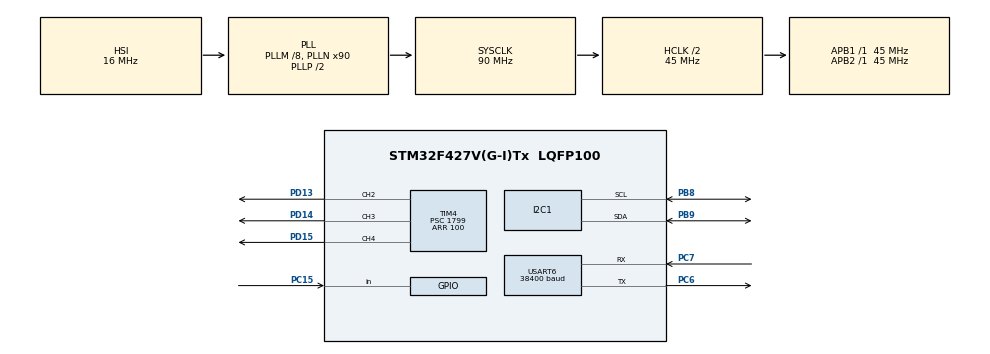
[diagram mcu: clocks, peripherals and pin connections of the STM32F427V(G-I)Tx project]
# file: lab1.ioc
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I2C1.I2C_Mode=I2C_Fast
Mcu.Family=STM32F4
Mcu.Name=STM32F427V(G-I)Tx
Mcu.Package=LQFP100
NVIC.PriorityGroup=NVIC_PRIORITYGROUP_4
NVIC.USART6_IRQn=true\:0\:0\:false\:false\:true\:true\:true\:true
PA13.Mode=JTAG_5_pins
PA13.Signal=SYS_JTMS-SWDIO
PA14.Mode=JTAG_5_pins
PA14.Signal=SYS_JTCK-SWCLK
PA15.Mode=JTAG_5_pins
PA15.Signal=SYS_JTDI
PB3.Mode=JTAG_5_pins
PB3.Signal=SYS_JTDO-SWO
PB4.Mode=JTAG_5_pins
PB4.Signal=SYS_JTRST
PB8.Mode=I2C
PB8.Signal=I2C1_SCL
PB9.Mode=I2C
PB9.Signal=I2C1_SDA
PC15/OSC32_OUT.Signal=GPIO_Input
PC6.Mode=Asynchronous
PC6.Signal=USART6_TX
PC7.Mode=Asynchronous
PC7.Signal=USART6_RX
PD13.Signal=S_TIM4_CH2
PD14.Signal=S_TIM4_CH3
PD15.Signal=S_TIM4_CH4
ProjectManager.HeapSize=0x200
ProjectManager.StackSize=0x400
ProjectManager.TargetToolchain=STM32CubeIDE
RCC.48MHZClocksFreq_Value=45000000
RCC.AHBCLKDivider=RCC_SYSCLK_DIV2
RCC.AHBFreq_Value=45000000
RCC.APB1Freq_Value=45000000
RCC.APB1TimFreq_Value=45000000
RCC.APB2Freq_Value=45000000
RCC.APB2TimFreq_Value=45000000
RCC.CortexFreq_Value=45000000
RCC.HCLKFreq_Value=45000000
RCC.HSE_VALUE=25000000
RCC.HSI_VALUE=16000000
RCC.LSE_VALUE=32768
RCC.PLLM=8
RCC.PLLN=90
RCC.SYSCLKFreq_VALUE=90000000
RCC.SYSCLKSource=RCC_SYSCLKSOURCE_PLLCLK
RCC.VCOOutputFreq_Value=180000000
SH.S_TIM4_CH2.0=TIM4_CH2,PWM Generation2 CH2
SH.S_TIM4_CH3.0=TIM4_CH3,PWM Generation3 CH3
SH.S_TIM4_CH4.0=TIM4_CH4,PWM Generation4 CH4
TIM4.Channel-PWM\ Generation2\ CH2=TIM_CHANNEL_2
TIM4.Channel-PWM\ Generation3\ CH3=TIM_CHANNEL_3
TIM4.Channel-PWM\ Generation4\ CH4=TIM_CHANNEL_4
TIM4.Period=100
TIM4.Prescaler=1799
TIM4.Pulse-PWM\ Generation3\ CH3=0
TIM4.Pulse-PWM\ Generation4\ CH4=0
USART6.BaudRate=38400
USART6.VirtualMode=VM_ASYNC
VP_TIM4_VS_ClockSourceINT.Mode=Internal
board=custom

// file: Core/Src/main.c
/* USER CODE BEGIN Header */
/**
  ******************************************************************************
  * @file           : main.c
  * @brief          : Main program body
  ******************************************************************************
  * @attention
  *
  * Copyright (c) 2025 STMicroelectronics.
  * All rights reserved.
  *
  * This software is licensed under terms that can be found in the LICENSE file
  * in the root directory of this software component.
  * If no LICENSE file comes with this software, it is provided AS-IS.
  *
  ******************************************************************************
  */
/* USER CODE END Header */
#include "main.h"
#include "i2c.h"
#include "tim.h"
#include "usart.h"
#include "gpio.h"

void SystemClock_Config(void);

int main(void)
{

  /* MCU Configuration--------------------------------------------------------*/

  /* Reset of all peripherals, Initializes the Flash interface and the Systick. */
  HAL_Init();

  /* Configure the system clock */
  SystemClock_Config();

  /* USER CODE BEGIN SysInit */
//  my_GPIO_Init();
  /* USER CODE END SysInit */

  /* Initialize all configured peripherals */
  MX_GPIO_Init();
  MX_USART6_UART_Init();
  MX_TIM4_Init();
  MX_I2C1_Init();
  /* USER CODE BEGIN 2 */

  HAL_TIM_PWM_Start(&htim4, TIM_CHANNEL_2);
  HAL_TIM_PWM_Start(&htim4, TIM_CHANNEL_3);
  HAL_TIM_PWM_Start(&htim4, TIM_CHANNEL_4);
  int phase = 0;
  uint32_t tick_count = 0;
  char write_buffer[200];
  char input_symbol;
  int mode = 0;
  int btn_id;

  /* USER CODE END 2 */

  /* Infinite loop */
  /* USER CODE BEGIN WHILE */
  clear_lights();
//    	set_light_power(RED, (phase + 50) % 100);
  void print_keyboard(uint8_t** kb_state){
	  sprintf(write_buffer, "--------------\n");
	  write_string(write_buffer);
		for (int row_i=0; row_i<4; row_i++){
			for (int col_i=0; col_i<3; col_i++){
				sprintf(write_buffer, "%d\t", kb_state[row_i][col_i]);
				write_string(write_buffer);
			}
			sprintf(write_buffer, "\n");
			write_string(write_buffer);
		}
  }

  kb_init(&hi2c1);
  while (1)
  {
    /* USER CODE END WHILE */

    /* USER CODE BEGIN 3 */

    GPIO_PinState btn_state = HAL_GPIO_ReadPin(GPIOC, GPIO_PIN_15);

    if (HAL_GetTick() - tick_count >= 100) {
       if (getBtnState() == BTN_CLICKED)
        	mode = 1 - mode;

    	tick_count = HAL_GetTick();
    	btn_id = read_keyboard(&hi2c1);
    	if (btn_id == -1) continue;
		keyboard(btn_id, mode);

    }

      // HAL_StatusTypeDef read_res = read_char(&input_symbol);
      // if (read_res != HAL_OK)
    	//   continue;
      // sprintf(write_buffer, "%c", input_symbol);
      // write_string(write_buffer);
      // change_color(input_symbol);

  }
  /* USER CODE END 3 */
}

void SystemClock_Config(void)
{
  RCC_OscInitTypeDef RCC_OscInitStruct = {0};
  RCC_ClkInitTypeDef RCC_ClkInitStruct = {0};

  /** Configure the main internal regulator output voltage
  */
  __HAL_RCC_PWR_CLK_ENABLE();
  __HAL_PWR_VOLTAGESCALING_CONFIG(PWR_REGULATOR_VOLTAGE_SCALE3);

  /** Initializes the RCC Oscillators according to the specified parameters
  * in the RCC_OscInitTypeDef structure.
  */
  RCC_OscInitStruct.OscillatorType = RCC_OSCILLATORTYPE_HSI;
  RCC_OscInitStruct.HSIState = RCC_HSI_ON;
  RCC_OscInitStruct.HSICalibrationValue = RCC_HSICALIBRATION_DEFAULT;
  RCC_OscInitStruct.PLL.PLLState = RCC_PLL_ON;
  RCC_OscInitStruct.PLL.PLLSource = RCC_PLLSOURCE_HSI;
  RCC_OscInitStruct.PLL.PLLM = 8;
  RCC_OscInitStruct.PLL.PLLN = 90;
  RCC_OscInitStruct.PLL.PLLP = RCC_PLLP_DIV2;
  RCC_OscInitStruct.PLL.PLLQ = 4;
  if (HAL_RCC_OscConfig(&RCC_OscInitStruct) != HAL_OK)
  {
    Error_Handler();
  }

  /** Activate the Over-Drive mode
  */
  if (HAL_PWREx_EnableOverDrive() != HAL_OK)
  {
    Error_Handler();
  }

  /** Initializes the CPU, AHB and APB buses clocks
  */
  RCC_ClkInitStruct.ClockType = RCC_CLOCKTYPE_HCLK|RCC_CLOCKTYPE_SYSCLK
                              |RCC_CLOCKTYPE_PCLK1|RCC_CLOCKTYPE_PCLK2;
  RCC_ClkInitStruct.SYSCLKSource = RCC_SYSCLKSOURCE_PLLCLK;
  RCC_ClkInitStruct.AHBCLKDivider = RCC_SYSCLK_DIV2;
  RCC_ClkInitStruct.APB1CLKDivider = RCC_HCLK_DIV1;
  RCC_ClkInitStruct.APB2CLKDivider = RCC_HCLK_DIV1;

  if (HAL_RCC_ClockConfig(&RCC_ClkInitStruct, FLASH_LATENCY_1) != HAL_OK)
  {
    Error_Handler();
  }
}

void Error_Handler(void)
{
  __disable_irq();
  while (1)
  {
  }
}
